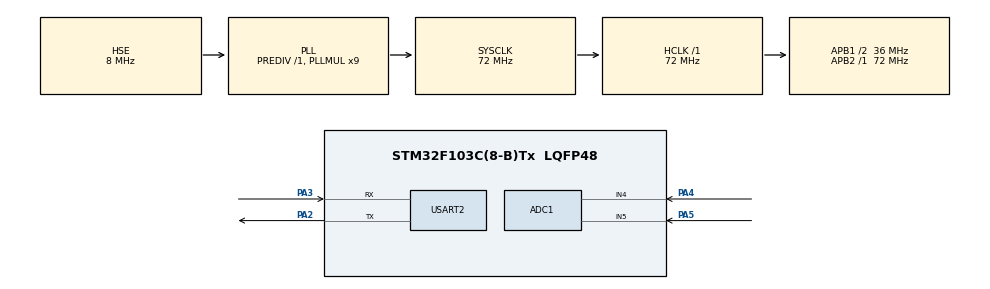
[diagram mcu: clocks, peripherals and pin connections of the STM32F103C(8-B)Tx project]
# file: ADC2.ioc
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ADC1.Channel-1\#ChannelRegularConversion=ADC_CHANNEL_5
ADC1.Channel-2\#ChannelRegularConversion=ADC_CHANNEL_4
ADC1.Channel-3\#ChannelRegularConversion=ADC_CHANNEL_TEMPSENSOR
ADC1.Channel-4\#ChannelRegularConversion=ADC_CHANNEL_VREFINT
ADC1.ContinuousConvMode=ENABLE
ADC1.NbrOfConversion=4
ADC1.NbrOfConversionFlag=1
ADC1.Rank-1\#ChannelRegularConversion=1
ADC1.Rank-2\#ChannelRegularConversion=2
ADC1.Rank-3\#ChannelRegularConversion=3
ADC1.Rank-4\#ChannelRegularConversion=4
ADC1.SamplingTime-1\#ChannelRegularConversion=ADC_SAMPLETIME_71CYCLES_5
ADC1.SamplingTime-2\#ChannelRegularConversion=ADC_SAMPLETIME_71CYCLES_5
ADC1.SamplingTime-3\#ChannelRegularConversion=ADC_SAMPLETIME_71CYCLES_5
ADC1.SamplingTime-4\#ChannelRegularConversion=ADC_SAMPLETIME_71CYCLES_5
ADC1.master=1
Dma.ADC1.0.Direction=DMA_PERIPH_TO_MEMORY
Dma.ADC1.0.Instance=DMA1_Channel1
Dma.ADC1.0.MemDataAlignment=DMA_MDATAALIGN_HALFWORD
Dma.ADC1.0.MemInc=DMA_MINC_ENABLE
Dma.ADC1.0.Mode=DMA_CIRCULAR
Dma.ADC1.0.PeriphDataAlignment=DMA_PDATAALIGN_HALFWORD
Dma.ADC1.0.PeriphInc=DMA_PINC_DISABLE
Dma.ADC1.0.Priority=DMA_PRIORITY_LOW
Dma.Request0=ADC1
Mcu.Family=STM32F1
Mcu.Name=STM32F103C(8-B)Tx
Mcu.Package=LQFP48
NVIC.DMA1_Channel1_IRQn=true\:0\:0\:false\:false\:true\:false\:true\:true
NVIC.PriorityGroup=NVIC_PRIORITYGROUP_4
PA13.Mode=Serial_Wire
PA13.Signal=SYS_JTMS-SWDIO
PA14.Mode=Serial_Wire
PA14.Signal=SYS_JTCK-SWCLK
PA2.Mode=Asynchronous
PA2.Signal=USART2_TX
PA3.Mode=Asynchronous
PA3.Signal=USART2_RX
PA4.Signal=ADCx_IN4
PA5.Signal=ADCx_IN5
PD0-OSC_IN.Mode=HSE-External-Oscillator
PD0-OSC_IN.Signal=RCC_OSC_IN
PD1-OSC_OUT.Mode=HSE-External-Oscillator
PD1-OSC_OUT.Signal=RCC_OSC_OUT
ProjectManager.HeapSize=0x200
ProjectManager.StackSize=0x400
ProjectManager.TargetToolchain=CMake
RCC.ADCPresc=RCC_ADCPCLK2_DIV6
RCC.AHBFreq_Value=72000000
RCC.APB1CLKDivider=RCC_HCLK_DIV2
RCC.APB1Freq_Value=36000000
RCC.APB1TimFreq_Value=72000000
RCC.APB2Freq_Value=72000000
RCC.APB2TimFreq_Value=72000000
RCC.HCLKFreq_Value=72000000
RCC.PLLMUL=RCC_PLL_MUL9
RCC.PLLSourceVirtual=RCC_PLLSOURCE_HSE
RCC.SYSCLKFreq_VALUE=72000000
RCC.SYSCLKSource=RCC_SYSCLKSOURCE_PLLCLK
RCC.USBFreq_Value=72000000
SH.ADCx_IN4.0=ADC1_IN4,IN4
SH.ADCx_IN5.0=ADC1_IN5,IN5
USART2.VirtualMode=VM_ASYNC
VP_ADC1_TempSens_Input.Mode=IN-TempSens
VP_ADC1_Vref_Input.Mode=IN-Vrefint
board=custom

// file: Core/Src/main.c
/* USER CODE BEGIN Header */
/**
  ******************************************************************************
  * @file           : main.c
  * @brief          : Main program body
  ******************************************************************************
  * @attention
  *
  * Copyright (c) 2025 STMicroelectronics.
  * All rights reserved.
  *
  * This software is licensed under terms that can be found in the LICENSE file
  * in the root directory of this software component.
  * If no LICENSE file comes with this software, it is provided AS-IS.
  *
  ******************************************************************************
  */
/* USER CODE END Header */
#include "main.h"
#include "adc.h"
#include "dma.h"
#include "usart.h"
#include "gpio.h"

/* USER CODE BEGIN Includes */
#include "string.h"
#include "stdio.h"
#include "math.h"
/* USER CODE END Includes */

void SystemClock_Config(void);

/* USER CODE BEGIN 0 */
uint16_t values[4];
char message[1000];
// void HAL_ADC_ConvCpltCallback(ADC_HandleTypeDef* hadc) {
//   if (hadc == &hadc1) {
//     sprintf(message, "%d %d %d %d",values[0],values[1],values[2],values[3]);
//     HAL_UART_Transmit(&huart2,(uint8_t*)message,strlen(message),HAL_MAX_DELAY);
//   }
// }
float ADC2Resistance(uint32_t adc_value) {
  return (adc_value / (4095.0f - adc_value)) * 10000.0f;
}
float resistance2Temperature(float R1) {
  float B = 3950.0f;
  float R2 = 10000.0f;
  float T2 = 25.0f;
  return (1.0 / ((1.0 / B) * log(R1 / R2) + (1.0 / (T2 + 273.15))) - 273.15);
}
/* USER CODE END 0 */

int main(void)
{

  /* MCU Configuration--------------------------------------------------------*/

  /* Reset of all peripherals, Initializes the Flash interface and the Systick. */
  HAL_Init();

  /* Configure the system clock */
  SystemClock_Config();

  /* Initialize all configured peripherals */
  MX_GPIO_Init();
  MX_DMA_Init();
  MX_ADC1_Init();
  MX_USART2_UART_Init();
  /* USER CODE BEGIN 2 */
  HAL_ADCEx_Calibration_Start(&hadc1);
  HAL_ADC_Start_DMA(&hadc1,(uint32_t*)values,sizeof(values)/sizeof(uint16_t));
  float NRC_R=0.0;
  float temperature=0.0;
  float voltage = 0;
  float Vref = 0;
  /* USER CODE END 2 */

  /* Infinite loop */
  /* USER CODE BEGIN WHILE */
  while (1)
  {
    // sprintf(message, "%d %d %d %d",values[0],values[1],values[2],values[3]);
    // HAL_UART_Transmit(&huart2,(uint8_t*)message,strlen(message),HAL_MAX_DELAY);
    NRC_R = ADC2Resistance(values[1]);
    temperature = resistance2Temperature(NRC_R);

    Vref=1.2*((4095.0)/(float)values[3]);
    voltage=(values[0]/4095.0)*Vref;
    sprintf(message, "阻值：%dΩ 温度：%.2f ℃ ADC:%d %.2f",(int)NRC_R,temperature,values[0],voltage);
    HAL_UART_Transmit(&huart2,(uint8_t*)message,strlen(message),HAL_MAX_DELAY);
    HAL_Delay(500);
    /* USER CODE END WHILE */

  }
}

void SystemClock_Config(void)
{
  RCC_OscInitTypeDef RCC_OscInitStruct = {0};
  RCC_ClkInitTypeDef RCC_ClkInitStruct = {0};
  RCC_PeriphCLKInitTypeDef PeriphClkInit = {0};

  /** Initializes the RCC Oscillators according to the specified parameters
  * in the RCC_OscInitTypeDef structure.
  */
  RCC_OscInitStruct.OscillatorType = RCC_OSCILLATORTYPE_HSE;
  RCC_OscInitStruct.HSEState = RCC_HSE_ON;
  RCC_OscInitStruct.HSEPredivValue = RCC_HSE_PREDIV_DIV1;
  RCC_OscInitStruct.HSIState = RCC_HSI_ON;
  RCC_OscInitStruct.PLL.PLLState = RCC_PLL_ON;
  RCC_OscInitStruct.PLL.PLLSource = RCC_PLLSOURCE_HSE;
  RCC_OscInitStruct.PLL.PLLMUL = RCC_PLL_MUL9;
  if (HAL_RCC_OscConfig(&RCC_OscInitStruct) != HAL_OK)
  {
    Error_Handler();
  }

  /** Initializes the CPU, AHB and APB buses clocks
  */
  RCC_ClkInitStruct.ClockType = RCC_CLOCKTYPE_HCLK|RCC_CLOCKTYPE_SYSCLK
                              |RCC_CLOCKTYPE_PCLK1|RCC_CLOCKTYPE_PCLK2;
  RCC_ClkInitStruct.SYSCLKSource = RCC_SYSCLKSOURCE_PLLCLK;
  RCC_ClkInitStruct.AHBCLKDivider = RCC_SYSCLK_DIV1;
  RCC_ClkInitStruct.APB1CLKDivider = RCC_HCLK_DIV2;
  RCC_ClkInitStruct.APB2CLKDivider = RCC_HCLK_DIV1;

  if (HAL_RCC_ClockConfig(&RCC_ClkInitStruct, FLASH_LATENCY_2) != HAL_OK)
  {
    Error_Handler();
  }
  PeriphClkInit.PeriphClockSelection = RCC_PERIPHCLK_ADC;
  PeriphClkInit.AdcClockSelection = RCC_ADCPCLK2_DIV6;
  if (HAL_RCCEx_PeriphCLKConfig(&PeriphClkInit) != HAL_OK)
  {
    Error_Handler();
  }
}

void Error_Handler(void)
{
  __disable_irq();
  while (1)
  {
  }
}
